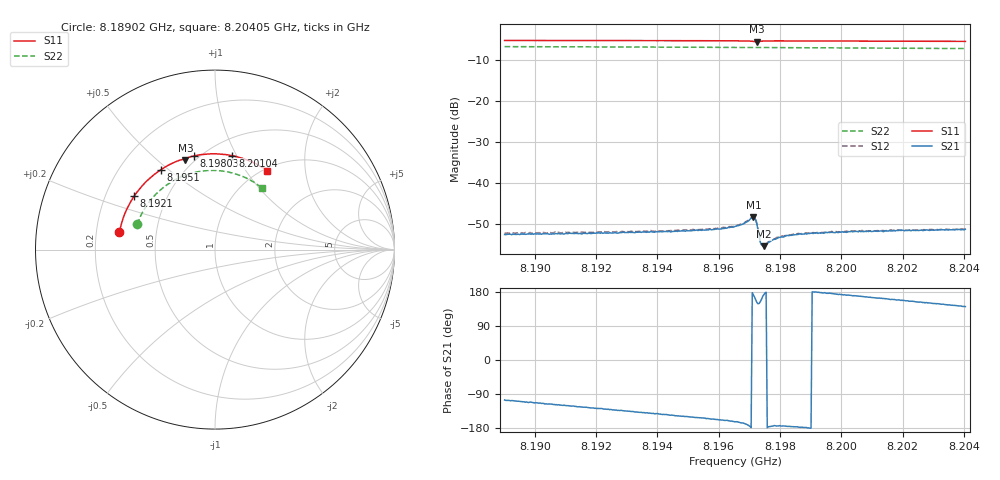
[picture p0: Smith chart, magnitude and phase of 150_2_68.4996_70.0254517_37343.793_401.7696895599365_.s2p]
#  HZ  S  RI  R  50.00
! Rohde & Schwarz Vector Network Analyzer
! Rohde-Schwarz,ZNB20-2Port,1311601062101988,3.16
! Created: UTC 3/20/2024, 4:55:14 PM
! freq[Hz]  re:S11  im:S11  re:S21  im:S21  re:S12  im:S12  re:S22  im:S22
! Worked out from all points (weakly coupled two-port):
!   401 points, 8.18902 GHz to 8.20405 GHz, reference 50 ohm
!   highest |S21| = -48.29 dB at 8.19713 GHz (marker M1); lowest = -55.3 dB at 8.19747 GHz (marker M2)
!   lowest |S11| = -5.6 dB at 8.19725 GHz (marker M3), VSWR 3.20, Z = 22.7 + j31 ohm
!   |S11| at or under -10 dB: nowhere
!   |S22| runs from -7.3 to -6.8 dB; largest |S21 - S12| = 0.00019
!   S11 on the Smith chart (normalised r, x): 8.18902 GHz: 0.30, +0.08; 8.1921 GHz: 0.32, +0.27; 8.1951 GHz: 0.38, +0.47; 8.19803 GHz: 0.47, +0.69; 8.20104 GHz: 0.66, +0.96; 8.20405 GHz: 1.04, +1.27
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8.189015e9  -0.5326 0.0981  -0.000634 -0.00229  -0.000736 -0.00238  -0.4335 0.1409
8.191533e9  -0.4719 0.2632  -0.00135 -0.002  -0.00148 -0.00205  -0.368 0.2637
8.192097e9  -0.4511 0.2967  -0.00154 -0.00196  -0.00164 -0.00197  -0.3485 0.2879
8.194051e9  -0.3607 0.4  -0.00203 -0.00155  -0.00211 -0.00154  -0.2681 0.3608
8.195103e9  -0.3018 0.4453  -0.0023 -0.0013  -0.00238 -0.00123  -0.2179 0.3913
8.196081e9  -0.2414 0.4795  -0.00258 -0.00102  -0.00267 -0.000955  -0.168 0.4135
8.196532e9  -0.2115 0.4926  -0.00285 -0.000869  -0.00295 -0.000768  -0.144 0.4216
8.196757e9  -0.1956 0.4982  -0.00305 -0.000763  -0.00316 -0.000693  -0.1317 0.4253
8.197058e9  -0.1718 0.5021  -0.00373 -0.000102  -0.00378 5.33e-05  -0.1154 0.4295
8.197133e9  -0.1661 0.5004  -0.00381 0.000562  -0.00385 0.000692  -0.1113 0.4304
8.197208e9  -0.1639 0.4971  -0.00331 0.0013  -0.00335 0.00147  -0.1072 0.431
8.197246e9  -0.1645 0.4967  -0.00281 0.0015  -0.00278 0.00163  -0.1051 0.4313
8.197321e9  -0.165 0.5003  -0.00194 0.00115  -0.0019 0.00122  -0.1012 0.4323
8.197396e9  -0.1615 0.5054  -0.00168 0.000611  -0.00166 0.00067  -0.097 0.4333
8.197471e9  -0.1565 0.5091  -0.0017 0.000236  -0.0017 0.000302  -0.093 0.4342
8.197809e9  -0.1315 0.5187  -0.00206 -0.000254  -0.0021 -0.000148  -0.0741 0.4372
8.198035e9  -0.1152 0.5224  -0.0022 -0.000215  -0.00224 -0.000136  -0.0614 0.4386
8.198524e9  -0.0806 0.5287  -0.00236 -0.000149  -0.00241 -2.62e-05  -0.0339 0.4409
8.19905e9  -0.0433 0.5325  -0.00246 4.12e-06  -0.0025 9.57e-05  -0.00411 0.4412
8.201042e9  0.0972 0.523  -0.0025 0.000684  -0.00249 0.000814  0.1073 0.4241
8.201568e9  0.1334 0.5143  -0.0025 0.000896  -0.00248 0.00099  0.1358 0.4148
8.204048e9  0.2916 0.44  -0.00214 0.00174  -0.00208 0.00184  0.2595 0.3446
